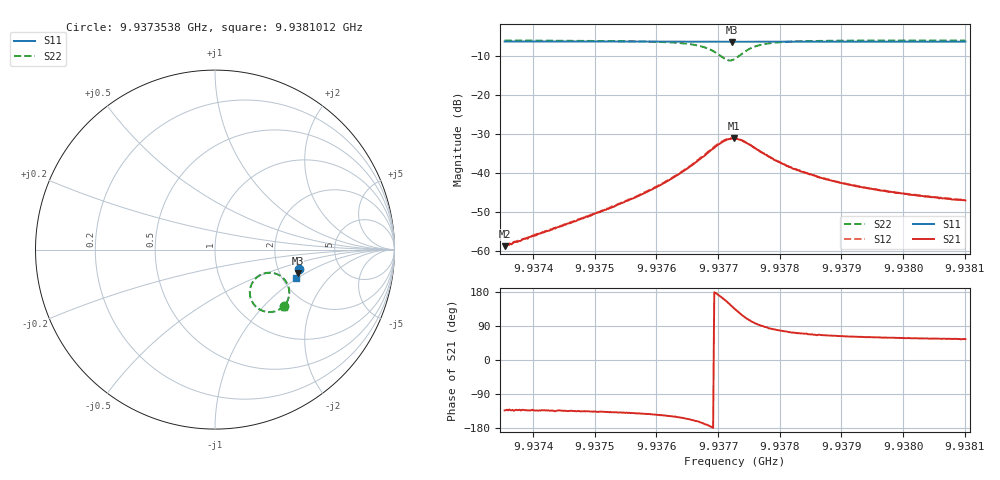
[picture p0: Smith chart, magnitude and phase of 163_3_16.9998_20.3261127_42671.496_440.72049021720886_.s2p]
#  HZ  S  RI  R  50.00
! Rohde & Schwarz Vector Network Analyzer
! Rohde-Schwarz,ZNB20-2Port,1311601062101988,3.16
! Created: UTC 3/20/2024, 10:59:20 PM
! freq[Hz]  re:S11  im:S11  re:S21  im:S21  re:S12  im:S12  re:S22  im:S22
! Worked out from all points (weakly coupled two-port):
!   401 points, 9.9373538 GHz to 9.9381012 GHz, reference 50 ohm
!   highest |S21| = -31.15 dB at 9.9377256 GHz (marker M1); lowest = -58.8 dB at 9.9373538 GHz (marker M2)
!   lowest |S11| = -6.4 dB at 9.9377219 GHz (marker M3), VSWR 2.83, Z = 125 - j42.8 ohm
!   |S11| at or under -10 dB: nowhere
!   |S22| runs from -11.2 to -6.0 dB; largest |S21 - S12| = 0.0012
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9.93735381e9  0.4706 -0.11  -0.00079 -0.000842  -0.000807 -0.000863  0.3848 -0.3145
9.937479e9  0.4679 -0.1183  -0.00186 -0.00185  -0.00189 -0.0018  0.3694 -0.3271
9.93752758e9  0.4668 -0.1218  -0.0027 -0.00242  -0.00278 -0.00247  0.3594 -0.3334
9.93756681e9  0.4657 -0.1244  -0.0038 -0.00309  -0.0039 -0.0031  0.3476 -0.3391
9.93760418e9  0.4648 -0.1271  -0.00562 -0.00395  -0.0058 -0.00389  0.3304 -0.3451
9.93763968e9  0.4636 -0.1296  -0.00887 -0.00471  -0.00911 -0.00461  0.3016 -0.3483
9.93766211e9  0.4627 -0.1311  -0.0126 -0.00451  -0.0129 -0.00448  0.2709 -0.3432
9.93767892e9  0.4618 -0.132  -0.0166 -0.00301  -0.0171 -0.0029  0.2387 -0.3269
9.937692e9  0.461 -0.1327  -0.0204 -0.00028  -0.0212 0.000304  0.2112 -0.2971
9.93770508e9  0.4603 -0.1328  -0.0237 0.00574  -0.0242 0.00644  0.1942 -0.2439
9.93771442e9  0.4598 -0.1328  -0.024 0.0118  -0.0239 0.0129  0.203 -0.1953
9.9377219e9  0.4597 -0.1326  -0.0219 0.0167  -0.0216 0.0177  0.2273 -0.1597
9.93772563e9  0.4599 -0.1325  -0.0201 0.019  -0.0199 0.0199  0.2442 -0.1463
9.9377275e9  0.4598 -0.1326  -0.0192 0.0198  -0.0187 0.0207  0.2533 -0.1409
9.93773684e9  0.4602 -0.1327  -0.0136 0.0226  -0.0129 0.0233  0.3019 -0.1289
9.93774992e9  0.4609 -0.1334  -0.00633 0.0224  -0.00572 0.0228  0.3572 -0.1427
9.93777048e9  0.4612 -0.1351  -6.44e-05 0.0184  0.000423 0.0184  0.3996 -0.1844
9.93781345e9  0.4605 -0.1386  0.00331 0.0117  0.00363 0.0118  0.4139 -0.2437
9.93785269e9  0.4599 -0.1416  0.0035 0.00875  0.00391 0.00864  0.4095 -0.2702
9.9378994e9  0.4587 -0.1447  0.00337 0.00666  0.00353 0.00666  0.4031 -0.2879
9.93797787e9  0.4568 -0.15  0.00296 0.0049  0.00308 0.00488  0.3936 -0.3046
9.93810119e9  0.4535 -0.1579  0.00255 0.00364  0.00263 0.00366  0.3822 -0.3199
